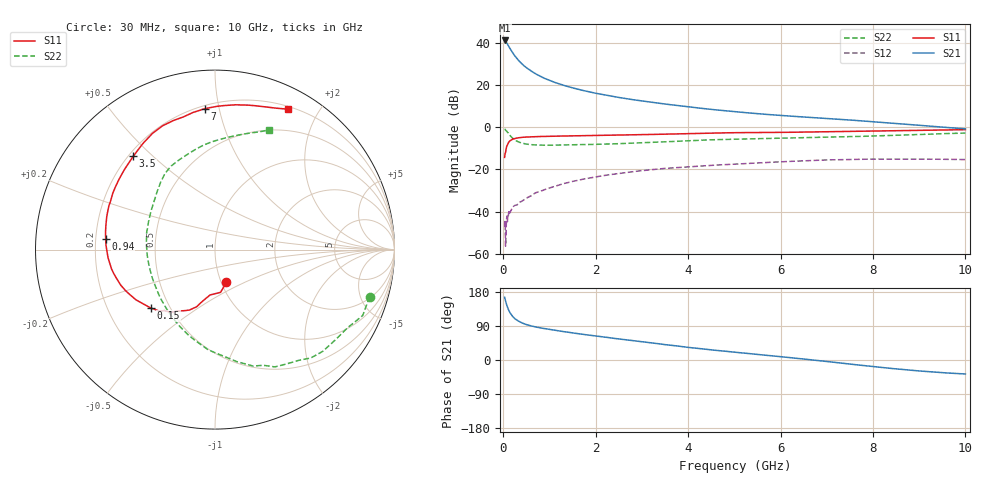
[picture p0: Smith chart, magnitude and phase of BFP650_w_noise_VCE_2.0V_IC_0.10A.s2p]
! Infineon Technologies  Discrete & RF Semiconductors
! BFP650
! VCE =  2.0 V,  IC = 0.10 A
! Common Emitter S-Parameters:  Jan 2016
# GHz  S  MA  R  50
!  f  S11  S21  S12  S22
! GHz  MAG  ANG  MAG  ANG  MAG  ANG  MAG  ANG
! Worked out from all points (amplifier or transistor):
!   229 points, 30 MHz to 10 GHz, reference 50 ohm
!   highest |S21| = 41.3 dB at 30 MHz (marker M1)
!   |S21| within 3 dB of that: start of sweep to 124.3 MHz
!   unconditionally stable (mu >= 1): 1.262 GHz to end of sweep
!   at 280 MHz: K = 0.66, MSG = 35.1 dB, |S12| = -37.0 dB
!   at 1.78 GHz: K = 1.02, MAG = 19.9 dB, |S12| = -24.4 dB
!   at 10 GHz: K = 1.03, MAG = 6.2 dB, |S12| = -15.3 dB
!   lowest NFmin = 1.42 dB at 450 MHz
!   S11 on the Smith chart (normalised r, x): 30 MHz: 1.06, -0.40; 150 MHz: 0.39, -0.33; 940 MHz: 0.24, +0.04; 3.5 GHz: 0.22, +0.44; 7 GHz: 0.22, +0.91; 10 GHz: 0.23, +1.62
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0.03  0.1938 -70.9  116.7 165.6  0.0044 99.4  0.9008 -17.0
0.04  0.2401 -82.6  115.2 160.5  0.0058 73.8  0.9011 -24.1
0.05  0.2542 -96.2  111.1 155.6  0.0015 116.6  0.8574 -30.5
0.06  0.2958 -103.6  108.8 151.6  0.003 31.5  0.8377 -37.1
0.08  0.366 -113.0  100.6 143.5  0.0078 68.7  0.8059 -48.5
0.11  0.4285 -125.4  88.39 133.7  0.0078 66.9  0.7336 -63.0
0.15  0.4838 -137.7  73.94 124.1  0.0097 71.6  0.6372 -78.8
0.2  0.5215 -147.5  60.32 115.4  0.0126 53.0  0.5597 -93.9
0.24  0.5405 -153.2  52.24 110.6  0.0137 56.0  0.5147 -103.2
0.3  0.5612 -159.3  42.82 104.7  0.0144 59.4  0.4686 -115.3
0.36  0.5724 -164.0  36.2 100.6  0.0167 58.5  0.4387 -124.6
0.45  0.586 -169.2  29.19 95.7  0.0191 60.9  0.4118 -135.8
0.6  0.5976 -175.7  21.93 90.0  0.0235 62.8  0.3894 -149.3
0.94  0.612 174.6  13.97 81.9  0.0345 61.8  0.3779 -168.5
1.7  0.636 159.3  7.67 68.2  0.058 57.3  0.3892 168.2
3.4  0.687 132.6  3.718 42.3  0.1035 38.2  0.4485 137.0
3.5  0.6915 131.2  3.592 40.6  0.1061 37.1  0.4538 135.6
5.1  0.75 111.9  2.313 19.5  0.1354 20.5  0.5278 116.5
6.8  0.7814 96.0  1.688 -1.3  0.1651 3.2  0.5782 98.2
7  0.7877 94.0  1.636 -4.0  0.1684 0.9  0.5847 96.5
8.4  0.8264 76.8  1.263 -22.3  0.1767 -14.7  0.6439 80.1
10  0.883 62.5  0.927 -36.9  0.172 -27.4  0.7333 65.6
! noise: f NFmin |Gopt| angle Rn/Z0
0.45  1.42  0.56  -171  0.06
0.9  1.44  0.58  -164  0.06
1.9  1.59  0.59  -150  0.09
2.4  1.69  0.57  -141  0.13
3.5  1.87  0.58  -118  0.25
